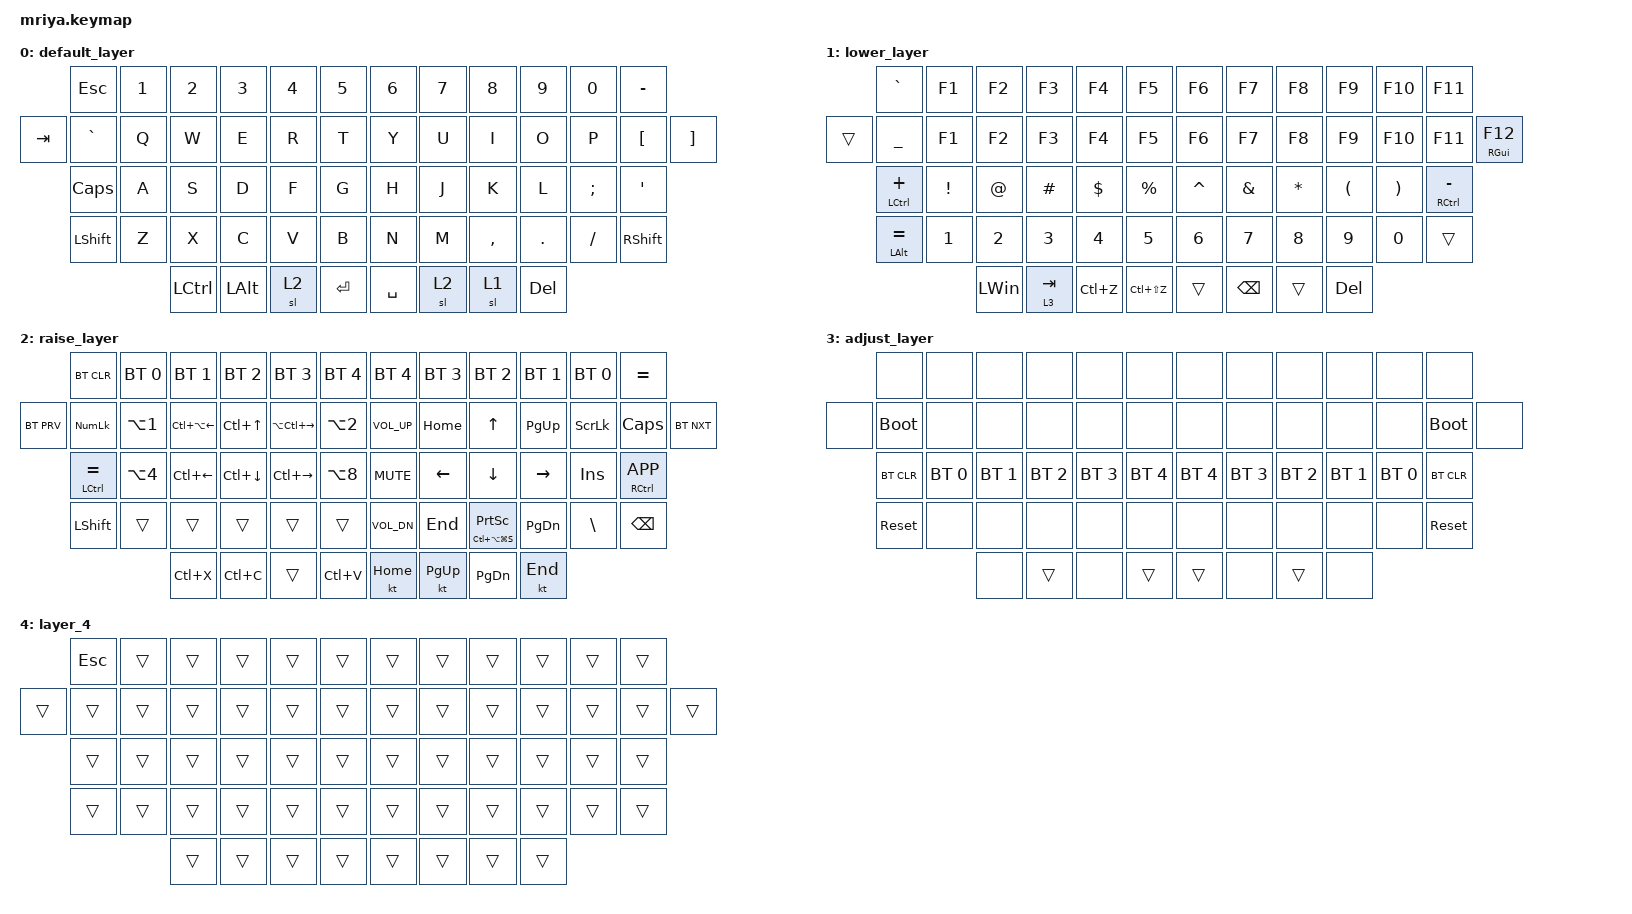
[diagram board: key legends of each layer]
/*
 * Copyright (c) 2023 Andrei Gaevskii
 *
 * SPDX-License-Identifier: MIT
 */

#include <behaviors.dtsi>
#include <dt-bindings/zmk/bt.h>
#include <dt-bindings/zmk/keys.h>
#include <dt-bindings/zmk/keys.h>

#define DEF 0
#define LWR 1
#define RSE 2
#define ADJ 3

&lt { quick_tap_ms = <200>; };

&mt { quick_tap_ms = <200>; };

/ {
    keymap {
        compatible = "zmk,keymap";

        default_layer {
            bindings = <
         &kp ESC         &kp N1  &kp N2            &kp N3        &kp N4  &kp N5     &kp N6     &kp N7  &kp N8     &kp N9      &kp N0    &kp MINUS
&kp TAB  &kp GRAVE       &kp Q   &kp W             &kp E         &kp R   &kp T      &kp Y      &kp U   &kp I      &kp O       &kp P     &kp LBKT         &kp RIGHT_BRACKET
         &kp CAPS        &kp A   &kp S             &kp D         &kp F   &kp G      &kp H      &kp J   &kp K      &kp L       &kp SEMI  &kp SQT
         &kp LEFT_SHIFT  &kp Z   &kp X             &kp C         &kp V   &kp B      &kp N      &kp M   &kp COMMA  &kp DOT     &kp FSLH  &kp RIGHT_SHIFT
                                 &kp LEFT_CONTROL  &kp LEFT_ALT  &sl 2   &kp RET    &kp SPACE  &sl 2   &sl 1      &kp DELETE
            >;
        };

        lower_layer {
            bindings = <
        &kp GRAVE       &kp F1    &kp F2    &kp F3     &kp F4     &kp F5           &kp F6     &kp F7         &kp F8    &kp F9      &kp F10   &kp F11
&trans  &kp UNDER       &kp F1    &kp F2    &kp F3     &kp F4     &kp F5           &kp F6     &kp F7         &kp F8    &kp F9      &kp F10   &kp F11          &mt RGUI F12
        &mt LCTRL PLUS  &kp EXCL  &kp AT    &kp HASH   &kp DLLR   &kp PRCNT        &kp CARET  &kp AMPS       &kp STAR  &kp LPAR    &kp RPAR  &mt RCTRL MINUS
        &mt LALT EQUAL  &kp N1    &kp N2    &kp N3     &kp N4     &kp N5           &kp N6     &kp N7         &kp N8    &kp N9      &kp N0    &trans
                                  &kp LWIN  &lt 3 TAB  &kp LC(Z)  &kp LC(LS(Z))    &trans     &kp BACKSPACE  &trans    &kp DELETE
            >;
        };

        raise_layer {
            bindings = <
            &bt BT_CLR       &bt BT_SEL 0      &bt BT_SEL 1      &bt BT_SEL 2  &bt BT_SEL 3       &bt BT_SEL 4        &bt BT_SEL 4  &bt BT_SEL 3  &bt BT_SEL 2                   &bt BT_SEL 1  &bt BT_SEL 0   &kp EQUAL
&bt BT_PRV  &kp KP_NUM       &kp LA(NUMBER_1)  &kp LC(LA(LEFT))  &kp LC(UP)    &kp LA(LC(RIGHT))  &kp LA(NUMBER_2)    &kp C_VOL_UP  &kp HOME      &kp UP                         &kp PG_UP     &kp SLCK       &kp CAPS         &bt BT_NXT
            &mt LCTRL EQUAL  &kp LA(NUMBER_4)  &kp LC(LEFT)      &kp LC(DOWN)  &kp LC(RIGHT)      &kp LA(NUMBER_8)    &kp C_MUTE    &kp LEFT      &kp DOWN                       &kp RIGHT     &kp INS        &mt RCTRL K_APP
            &kp LEFT_SHIFT   &trans            &trans            &trans        &trans             &trans              &kp C_VOL_DN  &kp END       &mt LC(LA(LG(S))) PRINTSCREEN  &kp PG_DN     &kp BACKSLASH  &kp BACKSPACE
                                               &kp LC(X)         &kp LC(C)     &trans             &kp LC(V)           &kt HOME      &kt PAGE_UP   &kp PAGE_DOWN                  &kt END
            >;
        };

        adjust_layer {
            bindings = <
       &none        &none         &none         &none         &none         &none           &none         &none         &none         &none         &none         &none
&none  &bootloader  &none         &none         &none         &none         &none           &none         &none         &none         &none         &none         &bootloader  &none
       &bt BT_CLR   &bt BT_SEL 0  &bt BT_SEL 1  &bt BT_SEL 2  &bt BT_SEL 3  &bt BT_SEL 4    &bt BT_SEL 4  &bt BT_SEL 3  &bt BT_SEL 2  &bt BT_SEL 1  &bt BT_SEL 0  &bt BT_CLR
       &sys_reset   &none         &none         &none         &none         &none           &none         &none         &none         &none         &none         &sys_reset
                                  &none         &trans        &none         &trans          &trans        &none         &trans        &none
            >;
        };

        layer_4 {
            bindings = <
        &kp ESCAPE  &trans  &trans  &trans  &trans  &trans    &trans  &trans  &trans  &trans  &trans  &trans
&trans  &trans      &trans  &trans  &trans  &trans  &trans    &trans  &trans  &trans  &trans  &trans  &trans  &trans
        &trans      &trans  &trans  &trans  &trans  &trans    &trans  &trans  &trans  &trans  &trans  &trans
        &trans      &trans  &trans  &trans  &trans  &trans    &trans  &trans  &trans  &trans  &trans  &trans
                            &trans  &trans  &trans  &trans    &trans  &trans  &trans  &trans
            >;
        };
    };
};
